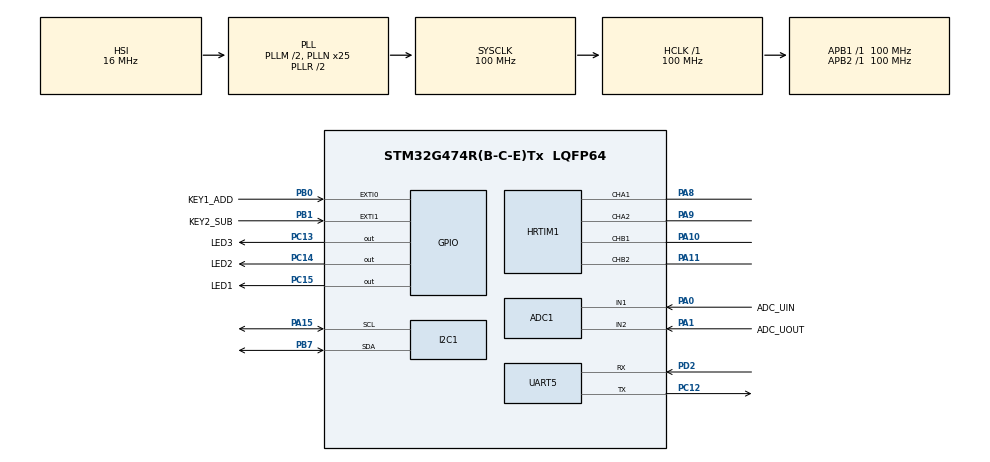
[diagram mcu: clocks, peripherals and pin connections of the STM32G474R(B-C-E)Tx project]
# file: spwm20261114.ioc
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ADC1.Channel-0\#ChannelRegularConversion=ADC_CHANNEL_VREFINT
ADC1.Channel-1\#ChannelRegularConversion=ADC_CHANNEL_1
ADC1.Channel-2\#ChannelRegularConversion=ADC_CHANNEL_2
ADC1.DMAContinuousRequests=ENABLE
ADC1.ExternalTrigConv=ADC_EXTERNALTRIG_HRTIM_TRG1
ADC1.NbrOfConversion=3
ADC1.NbrOfConversionFlag=1
ADC1.OffsetNumber-0\#ChannelRegularConversion=ADC_OFFSET_NONE
ADC1.OffsetNumber-1\#ChannelRegularConversion=ADC_OFFSET_NONE
ADC1.OffsetNumber-2\#ChannelRegularConversion=ADC_OFFSET_NONE
ADC1.Rank-0\#ChannelRegularConversion=1
ADC1.Rank-1\#ChannelRegularConversion=2
ADC1.Rank-2\#ChannelRegularConversion=3
ADC1.SamplingTime-0\#ChannelRegularConversion=ADC_SAMPLETIME_640CYCLES_5
ADC1.SamplingTime-1\#ChannelRegularConversion=ADC_SAMPLETIME_640CYCLES_5
ADC1.SamplingTime-2\#ChannelRegularConversion=ADC_SAMPLETIME_640CYCLES_5
ADC1.master=1
Dma.ADC1.0.Direction=DMA_PERIPH_TO_MEMORY
Dma.ADC1.0.EventEnable=DISABLE
Dma.ADC1.0.Instance=DMA1_Channel1
Dma.ADC1.0.MemDataAlignment=DMA_MDATAALIGN_HALFWORD
Dma.ADC1.0.MemInc=DMA_MINC_ENABLE
Dma.ADC1.0.Mode=DMA_CIRCULAR
Dma.ADC1.0.PeriphDataAlignment=DMA_PDATAALIGN_HALFWORD
Dma.ADC1.0.PeriphInc=DMA_PINC_DISABLE
Dma.ADC1.0.Polarity=HAL_DMAMUX_REQ_GEN_RISING
Dma.ADC1.0.Priority=DMA_PRIORITY_LOW
Dma.ADC1.0.RequestNumber=1
Dma.ADC1.0.SignalID=NONE
Dma.ADC1.0.SyncEnable=DISABLE
Dma.ADC1.0.SyncPolarity=HAL_DMAMUX_SYNC_NO_EVENT
Dma.ADC1.0.SyncRequestNumber=1
Dma.ADC1.0.SyncSignalID=NONE
Dma.Request0=ADC1
Dma.Request1=UART5_TX
Dma.UART5_TX.1.Direction=DMA_MEMORY_TO_PERIPH
Dma.UART5_TX.1.EventEnable=DISABLE
Dma.UART5_TX.1.Instance=DMA1_Channel2
Dma.UART5_TX.1.MemDataAlignment=DMA_MDATAALIGN_BYTE
Dma.UART5_TX.1.MemInc=DMA_MINC_ENABLE
Dma.UART5_TX.1.Mode=DMA_NORMAL
Dma.UART5_TX.1.PeriphDataAlignment=DMA_PDATAALIGN_BYTE
Dma.UART5_TX.1.PeriphInc=DMA_PINC_DISABLE
Dma.UART5_TX.1.Polarity=HAL_DMAMUX_REQ_GEN_RISING
Dma.UART5_TX.1.Priority=DMA_PRIORITY_LOW
Dma.UART5_TX.1.RequestNumber=1
Dma.UART5_TX.1.SignalID=NONE
Dma.UART5_TX.1.SyncEnable=DISABLE
Dma.UART5_TX.1.SyncPolarity=HAL_DMAMUX_SYNC_NO_EVENT
Dma.UART5_TX.1.SyncRequestNumber=1
Dma.UART5_TX.1.SyncSignalID=NONE
HRTIM1.ADCTrigger1_Source1=HRTIM_ADCTRIGGEREVENT13_MASTER_CMP4
HRTIM1.ADCTrigger_Id1=HRTIM_ADCTRIGGER_1
HRTIM1.CompareUnit1-MasterTimer=HRTIM_COMPAREUNIT_1
HRTIM1.CompareUnit2-MasterTimer=HRTIM_COMPAREUNIT_2
HRTIM1.CompareUnit3-MasterTimer=__NULL
HRTIM1.CompareUnit4-MasterTimer=HRTIM_COMPAREUNIT_4
HRTIM1.CompareValue1-MasterTimer=1250
HRTIM1.CompareValue2-MasterTimer=3750
HRTIM1.CompareValue4-MasterTimer=2500
HRTIM1.DeadTimeInsertion-Output_TA1TA2=HRTIM_TIMDEADTIMEINSERTION_ENABLED
HRTIM1.DeadTimeInsertion-Output_TB1TB2=HRTIM_TIMDEADTIMEINSERTION_ENABLED
HRTIM1.FallingValue-Output_TA1TA2=20
HRTIM1.FallingValue-Output_TB1TB2=20
HRTIM1.NumberADCTriggerSource1=1
HRTIM1.NumberResetSource1-Output_TA1TA2=1
HRTIM1.NumberResetSource1-Output_TB1TB2=1
HRTIM1.NumberResetTrigger-Output_TA1TA2=1
HRTIM1.NumberResetTrigger-Output_TB1TB2=1
HRTIM1.NumberSetSource1-Output_TA1TA2=1
HRTIM1.NumberSetSource1-Output_TB1TB2=1
HRTIM1.Periode_MASTER=5000
HRTIM1.Periode_TA=5000
HRTIM1.Periode_TB=5000
HRTIM1.PreloadEnable-MasterTimer=HRTIM_PRELOAD_ENABLED
HRTIM1.PreloadEnable-Output_TA1TA2=HRTIM_PRELOAD_ENABLED
HRTIM1.PreloadEnable-Output_TB1TB2=HRTIM_PRELOAD_ENABLED
HRTIM1.PrescalerDead-Output_TA1TA2=HRTIM_TIMDEADTIME_PRESCALERRATIO_DIV1
HRTIM1.PrescalerDead-Output_TB1TB2=HRTIM_TIMDEADTIME_PRESCALERRATIO_DIV1
HRTIM1.PrescalerRatio_MASTER=HRTIM_PRESCALERRATIO_DIV1
HRTIM1.PrescalerRatio_TA=HRTIM_PRESCALERRATIO_DIV1
HRTIM1.PrescalerRatio_TB=HRTIM_PRESCALERRATIO_DIV1
HRTIM1.RepetitionUpdate-MasterTimer=HRTIM_UPDATEONREPETITION_ENABLED
HRTIM1.RepetitionUpdate-Output_TA1TA2=HRTIM_UPDATEONREPETITION_ENABLED
HRTIM1.RepetitionUpdate-Output_TB1TB2=HRTIM_UPDATEONREPETITION_ENABLED
HRTIM1.ResetOutput1_Source1-Output_TA1TA2=HRTIM_OUTPUTRESET_MASTERCMP2
HRTIM1.ResetOutput1_Source1-Output_TB1TB2=HRTIM_OUTPUTRESET_MASTERCMP1
HRTIM1.ResetTrigger1-Output_TA1TA2=HRTIM_TIMRESETTRIGGER_MASTER_PER
HRTIM1.ResetTrigger1-Output_TB1TB2=HRTIM_TIMRESETTRIGGER_MASTER_PER
HRTIM1.RisingValue-Output_TA1TA2=20
HRTIM1.RisingValue-Output_TB1TB2=20
HRTIM1.SetOutput1_Source1-Output_TA1TA2=HRTIM_OUTPUTSET_MASTERCMP1
HRTIM1.SetOutput1_Source1-Output_TB1TB2=HRTIM_OUTPUTSET_MASTERCMP2
I2C1.Timing=0x20B182BE
Mcu.Family=STM32G4
Mcu.Name=STM32G474R(B-C-E)Tx
Mcu.Package=LQFP64
NVIC.DMA1_Channel1_IRQn=true\:0\:0\:false\:false\:true\:false\:true\:true
NVIC.DMA1_Channel2_IRQn=true\:0\:0\:false\:false\:true\:false\:true\:true
NVIC.EXTI0_IRQn=true\:0\:0\:false\:false\:true\:true\:true\:true
NVIC.EXTI1_IRQn=true\:0\:0\:false\:false\:true\:true\:true\:true
NVIC.HRTIM1_Master_IRQn=true\:0\:0\:false\:false\:true\:true\:true\:true
NVIC.PriorityGroup=NVIC_PRIORITYGROUP_4
NVIC.UART5_IRQn=true\:0\:0\:false\:false\:true\:true\:true\:true
PA0.GPIO_Label=ADC_UIN
PA0.Mode=IN1-Single-Ended
PA0.Signal=ADC1_IN1
PA1.GPIO_Label=ADC_UOUT
PA1.Mode=IN2-Single-Ended
PA1.Signal=ADC1_IN2
PA10.Mode=Output_TB1TB2
PA10.Signal=HRTIM1_CHB1
PA11.Mode=Output_TB1TB2
PA11.Signal=HRTIM1_CHB2
PA13.Mode=Serial_Wire
PA13.Signal=SYS_JTMS-SWDIO
PA14.Mode=Serial_Wire
PA14.Signal=SYS_JTCK-SWCLK
PA15.Mode=I2C
PA15.Signal=I2C1_SCL
PA8.Mode=Output_TA1TA2
PA8.Signal=HRTIM1_CHA1
PA9.Mode=Output_TA1TA2
PA9.Signal=HRTIM1_CHA2
PB0.GPIO_Label=KEY1_ADD
PB0.GPIO_ModeDefaultEXTI=GPIO_MODE_IT_FALLING
PB0.GPIO_PuPd=GPIO_PULLUP
PB0.Signal=GPXTI0
PB1.GPIO_Label=KEY2_SUB
PB1.GPIO_ModeDefaultEXTI=GPIO_MODE_IT_FALLING
PB1.GPIO_PuPd=GPIO_PULLUP
PB1.Signal=GPXTI1
PB7.Mode=I2C
PB7.Signal=I2C1_SDA
PC12.Mode=Asynchronous
PC12.Signal=UART5_TX
PC13.GPIO_Label=LED3
PC13.GPIO_PuPd=GPIO_PULLUP
PC13.Signal=GPIO_Output
PC14-OSC32_IN.GPIO_Label=LED2
PC14-OSC32_IN.GPIO_PuPd=GPIO_PULLUP
PC14-OSC32_IN.Signal=GPIO_Output
PC15-OSC32_OUT.GPIO_Label=LED1
PC15-OSC32_OUT.GPIO_PuPd=GPIO_PULLUP
PC15-OSC32_OUT.Signal=GPIO_Output
PD2.Mode=Asynchronous
PD2.Signal=UART5_RX
ProjectManager.HeapSize=0x200
ProjectManager.StackSize=0x400
ProjectManager.TargetToolchain=STM32CubeIDE
RCC.ADC12Freq_Value=100000000
RCC.ADC345Freq_Value=100000000
RCC.AHBFreq_Value=100000000
RCC.APB1Freq_Value=100000000
RCC.APB1TimFreq_Value=100000000
RCC.APB2Freq_Value=100000000
RCC.APB2TimFreq_Value=100000000
RCC.CortexFreq_Value=100000000
RCC.EXTERNAL_CLOCK_VALUE=12288000
RCC.HCLKFreq_Value=100000000
RCC.HSE_VALUE=8000000
RCC.HSI48_VALUE=48000000
RCC.HSI_VALUE=16000000
RCC.LSE_VALUE=32768
RCC.PLLM=RCC_PLLM_DIV2
RCC.PLLN=25
RCC.SYSCLKFreq_VALUE=100000000
RCC.SYSCLKSource=RCC_SYSCLKSOURCE_PLLCLK
RCC.USBFreq_Value=100000000
RCC.VCOOutputFreq_Value=200000000
VP_ADC1_Vref_Input.Mode=IN-Vrefint
VP_HRTIM1_VS_hrtimMasterTimerNoOutput.Mode=MasterTimer
VP_SYS_VS_DBSignals.Mode=DisableDeadBatterySignals
board=custom

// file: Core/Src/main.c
/* USER CODE BEGIN Header */
/**
 ******************************************************************************
 * @file           : main.c
 * @brief          : Main program body
 ******************************************************************************
 * @attention
 *
 * Copyright (c) 2026 STMicroelectronics.
 * All rights reserved.
 *
 * This software is licensed under terms that can be found in the LICENSE file
 * in the root directory of this software component.
 * If no LICENSE file comes with this software, it is provided AS-IS.
 *
 ******************************************************************************
 */
/* USER CODE END Header */
#include "main.h"
#include "adc.h"
#include "dma.h"
#include "hrtim.h"
#include "i2c.h"
#include "usart.h"
#include "gpio.h"

/* USER CODE BEGIN Includes */
#include "config_hrtim.h"
#include "config_adc.h"
#include "cv_cc.h"
#include "kalman.h"
#include "print_adapt.h"
#include "spwm.h"
#include "sin_analyzer.h"
#include "pr.h"

// #include "oled.h"
/* USER CODE END Includes */

void SystemClock_Config(void);
/* USER CODE BEGIN PFP */

typedef struct {
    float voltage;
    float current;
    float power;
} Power_t;
Power_t in, out;

Kalman_Filter_t kalman[5];

Sin_Analyzer_t vout_sin_analyzer;
PI_t vout_pi_controller;
PR_t vout_pr_controller;

SPWM_t spwm;

const int FREQ      = 20000;
const int HALF_FREQ = FREQ / 2;
const int REP       = 5000;
const int HALF_REP  = REP / 2;

/* USER CODE END PFP */

/* USER CODE BEGIN 0 */

void set_pwm(float pwm) {
    CHRTIM_Compare_Set(HRTIM_TIMERINDEX_MASTER, HRTIM_COMPAREUNIT_1, HALF_REP * (1 - pwm));
    CHRTIM_Compare_Set(HRTIM_TIMERINDEX_MASTER, HRTIM_COMPAREUNIT_2, HALF_REP * (1 + pwm));
}

void ADC_IT_cbks(void) {
    // 校准电压和电流，得到引脚上的电压值(mv)
    CADC_Calibrate_VDDA();
    in.voltage  = CADC_Calibrate_mv(adc_dma_buffer[2]);
    float b     = CADC_Calibrate_mv(adc_dma_buffer[1]);
    in.current  = CADC_Calibrate_mv(adc_dma_buffer[3]);
    out.current = CADC_Calibrate_mv(adc_dma_buffer[4]);

    // 拟合
    in.voltage  = in.voltage * 1.0f + 0.0f;
    out.voltage = b * 0.050911f - 63.3028f;
    in.current  = (in.current - 1650) * 1.0f + 0.0f;
    out.current = (out.current - 1650) * 1.0f + 0.0f;

    // 计算功率
    in.power  = in.voltage * in.current;
    out.power = out.voltage * out.current;

    Sin_Analyzer_Update(&vout_sin_analyzer, out.voltage);
    if (vout_sin_analyzer.out.data_ready) {
        if (vout_sin_analyzer.out.locked) {
            SPWM_Set_Amplitude(&spwm, PI_Update(&vout_pi_controller, vout_sin_analyzer.out.rms, 24.0f));
        }
        vout_sin_analyzer.out.data_ready = false;
    }
    // PR_Update(&vout_pr_controller, out.voltage, 24.0f * 1.41421356f * sinf(vout_sin_analyzer.out.theta));
    float pwm = SPWM_Update(&spwm);
    set_pwm(pwm);
    static int i = 0;
    ++i;
    if (i < HALF_FREQ) {
        return;
    }
    i = 0;
    HAL_GPIO_TogglePin(LED3_GPIO_Port, LED3_Pin);
}

void repetition_event_cbk(HRTIM_Timer_Index_t TimerIdx) {
    if (TimerIdx == HRTIM_TIMERINDEX_MASTER) {
        static int i = 0;

        if (i >= HALF_FREQ) {
            HAL_GPIO_TogglePin(LED1_GPIO_Port, LED1_Pin);
            i = 0;
        }
        ++i;
    }
}
void cmp4_cbk(HRTIM_Timer_Index_t TimerIdx) {
    if (TimerIdx == HRTIM_TIMERINDEX_MASTER) {
        static int i = 0;

        ++i;
        if (i < HALF_FREQ) {
            return;
        }
        i = 0;
    }
}

bool flag_key1 = false;
bool flag_key2 = false;
void HAL_GPIO_EXTI_Callback(uint16_t GPIO_Pin) {
    if (GPIO_Pin == KEY1_ADD_Pin) {
        flag_key1 = true;
    }
    else if (GPIO_Pin == KEY2_SUB_Pin) {
        flag_key2 = true;
    }
}
/* USER CODE END 0 */

int main(void) {

    /* MCU Configuration--------------------------------------------------------*/

    /* Reset of all peripherals, Initializes the Flash interface and the Systick. */
    HAL_Init();

    /* Configure the system clock */
    SystemClock_Config();

    /* Initialize all configured peripherals */
    MX_GPIO_Init();
    MX_DMA_Init();
    MX_ADC1_Init();
    MX_HRTIM1_Init();
    MX_UART5_Init();
    MX_I2C1_Init();
    /* USER CODE BEGIN 2 */

    ADC_IT_Callbacks_t cbks = {.conv_cplt_cbk = ADC_IT_cbks, .conv_half_cplt_cbk = NULL};
    ADC_IT_Callbacks_Register(&cbks);

    CADC_Calibration_Start();
    CADC_Start_DMA();

    CHRTIM_Timer_Start(HRTIM_TIMERID_MASTER | HRTIM_TIMERID_TIMER_A | HRTIM_TIMERID_TIMER_B);
    CHRTIM_Output_Start(HRTIM_OUTPUT_TA1 | HRTIM_OUTPUT_TA2 | HRTIM_OUTPUT_TB1 | HRTIM_OUTPUT_TB2);

    PI_Init(&vout_pi_controller, 0.005f, 0.01f, 0.02f, 0.98f, 0.8f);
    PR_Init(&vout_pr_controller, 0.2, 50, 50, 1, FREQ, 0.02, 0.98, 0.8f);
    Sin_Analyzer_Init(&vout_sin_analyzer, FREQ, 40, 60, 0.1);

    SPWM_Init(&spwm, (Float_t)FREQ, GRID_FREQUENCY, 0.95);

    HRTIM_IT_Callbacks_t hrtimcbks = {.repetition_event_cbk = repetition_event_cbk, .compare4_cbk = cmp4_cbk};
    CHRTIM_IT_Callbacks_Register(&hrtimcbks);

    CHRTIM_Master_Enable_IT(HRTIM_MDIER_MREPIE | HRTIM_MDIER_MCMP4IE);

    // Sin_Analyzer_Init(&in.sin_analyzer, FREQ, 40, 60);
    // Sin_Analyzer_Init(&out.sin_analyzer, FREQ, 40, 60);

    // HAL_Delay(1000);
    // OLED_Init();
    // OLED_Clear_all();
    // OLED_Update();

    /* USER CODE END 2 */

    /* Infinite loop */
    while (1) {

        /* USER CODE BEGIN 3 */
        Float_t a[] = {out.voltage, vout_sin_analyzer.out.rms, sinf(vout_sin_analyzer.out.theta)};
        Vofa_JustFloat((Float_t*)&a, sizeof(a) / sizeof(a[0]));

        // OLED_Print_16x8_px(0, 0, "Ui_min: %f", Ui_min);
        // OLED_Print_16x8_px(0, 16, "Ui_max: %f", Ui_max);
        // OLED_Print_16x8_px(0, 32, "Uo_min: %f", Uo_min);
        // OLED_Print_16x8_px(0, 48, "Uo_max: %f", Uo_max);

        // OLED_Update();
        // OLED_Clear_all();
    }
    /* USER CODE END 3 */
}

void SystemClock_Config(void) {
    RCC_OscInitTypeDef RCC_OscInitStruct = {0};
    RCC_ClkInitTypeDef RCC_ClkInitStruct = {0};

    /** Configure the main internal regulator output voltage
     */
    HAL_PWREx_ControlVoltageScaling(PWR_REGULATOR_VOLTAGE_SCALE1);

    /** Initializes the RCC Oscillators according to the specified parameters
     * in the RCC_OscInitTypeDef structure.
     */
    RCC_OscInitStruct.OscillatorType      = RCC_OSCILLATORTYPE_HSI;
    RCC_OscInitStruct.HSIState            = RCC_HSI_ON;
    RCC_OscInitStruct.HSICalibrationValue = RCC_HSICALIBRATION_DEFAULT;
    RCC_OscInitStruct.PLL.PLLState        = RCC_PLL_ON;
    RCC_OscInitStruct.PLL.PLLSource       = RCC_PLLSOURCE_HSI;
    RCC_OscInitStruct.PLL.PLLM            = RCC_PLLM_DIV2;
    RCC_OscInitStruct.PLL.PLLN            = 25;
    RCC_OscInitStruct.PLL.PLLP            = RCC_PLLP_DIV2;
    RCC_OscInitStruct.PLL.PLLQ            = RCC_PLLQ_DIV2;
    RCC_OscInitStruct.PLL.PLLR            = RCC_PLLR_DIV2;
    if (HAL_RCC_OscConfig(&RCC_OscInitStruct) != HAL_OK) {
        Error_Handler();
    }

    /** Initializes the CPU, AHB and APB buses clocks
     */
    RCC_ClkInitStruct.ClockType = RCC_CLOCKTYPE_HCLK | RCC_CLOCKTYPE_SYSCLK | RCC_CLOCKTYPE_PCLK1 | RCC_CLOCKTYPE_PCLK2;
    RCC_ClkInitStruct.SYSCLKSource   = RCC_SYSCLKSOURCE_PLLCLK;
    RCC_ClkInitStruct.AHBCLKDivider  = RCC_SYSCLK_DIV1;
    RCC_ClkInitStruct.APB1CLKDivider = RCC_HCLK_DIV1;
    RCC_ClkInitStruct.APB2CLKDivider = RCC_HCLK_DIV1;

    if (HAL_RCC_ClockConfig(&RCC_ClkInitStruct, FLASH_LATENCY_3) != HAL_OK) {
        Error_Handler();
    }
}

void Error_Handler(void) {
    __disable_irq();
    while (1) {
    }
}
